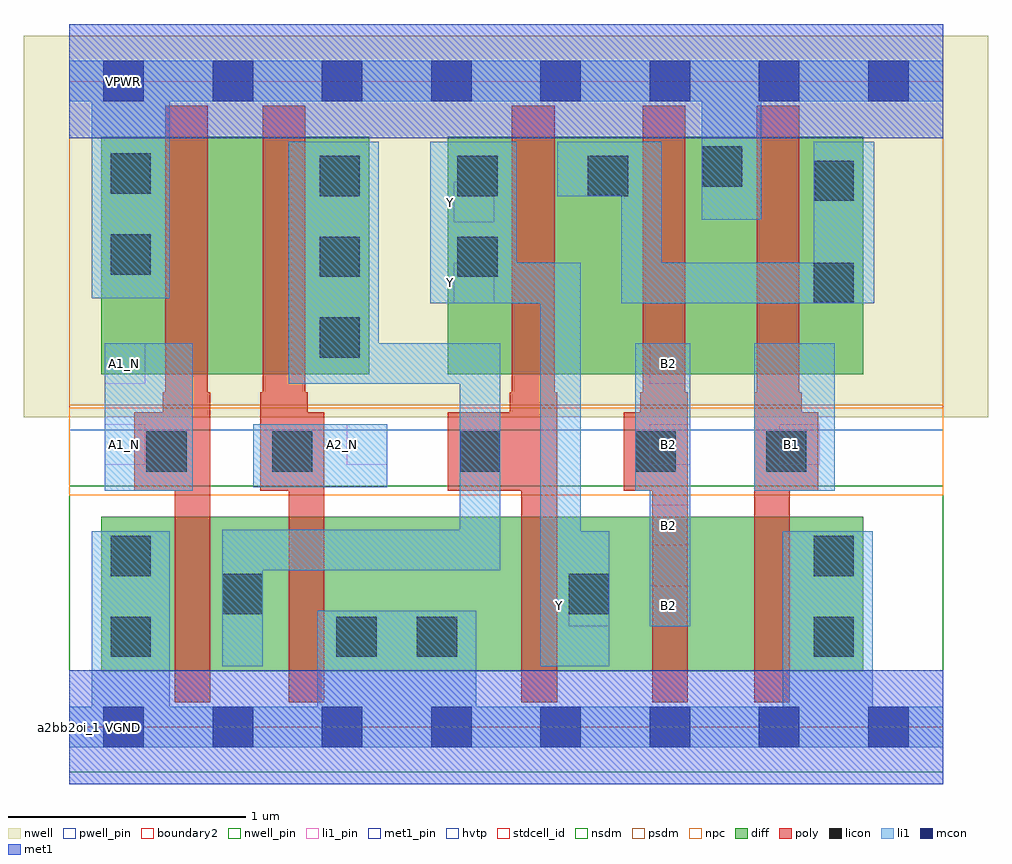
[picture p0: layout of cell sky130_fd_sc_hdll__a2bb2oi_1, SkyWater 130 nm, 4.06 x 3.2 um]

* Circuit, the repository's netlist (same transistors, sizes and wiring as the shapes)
* Copyright 2020 The SkyWater PDK Authors
*
* Licensed under the Apache License, Version 2.0 (the "License");
* you may not use this file except in compliance with the License.
* You may obtain a copy of the License at
*
*     https://www.apache.org/licenses/LICENSE-2.0
*
* Unless required by applicable law or agreed to in writing, software
* distributed under the License is distributed on an "AS IS" BASIS,
* WITHOUT WARRANTIES OR CONDITIONS OF ANY KIND, either express or implied.
* See the License for the specific language governing permissions and
* limitations under the License.
*
* SPDX-License-Identifier: Apache-2.0

.SUBCKT sky130_fd_sc_hdll__a2bb2oi_1 A1_N A2_N B1 B2 VGND VNB VPB VPWR Y
*.PININFO A1_N:I A2_N:I B1:I B2:I VGND:I VNB:I VPB:I VPWR:I Y:O
MMNnor0 inor A1_N VGND VNB sky130_fd_pr__nfet_01v8 m=1 w=0.65U l=0.15U mult=1 sa=0.265
+ sb=0.265 sd=0.28 area=0.063 perim=1.14
MMNnor1 inor A2_N VGND VNB sky130_fd_pr__nfet_01v8 m=1 w=0.65U l=0.15U mult=1 sa=0.265
+ sb=0.265 sd=0.28 area=0.063 perim=1.14
MMNaoi10 VGND B1 sndNB1 VNB sky130_fd_pr__nfet_01v8 m=1 w=0.65U l=0.15U mult=1
+ sa=0.265 sb=0.265 sd=0.28 area=0.063 perim=1.14
MMNaoi11 sndNB1 B2 Y VNB sky130_fd_pr__nfet_01v8 m=1 w=0.65U l=0.15U mult=1 sa=0.265
+ sb=0.265 sd=0.28 area=0.063 perim=1.14
MMNaoi20 Y inor VGND VNB sky130_fd_pr__nfet_01v8 m=1 w=0.65U l=0.15U mult=1 sa=0.265
+ sb=0.265 sd=0.28 area=0.063 perim=1.14
MMPnor0 VPWR A1_N sndPA1N VPB sky130_fd_pr__pfet_01v8_hvt m=1 w=1.0U l=0.18U mult=1
+ sa=0.265 sb=0.265 sd=0.28 area=0.063 perim=1.14
MMPnor1 sndPA1N A2_N inor VPB sky130_fd_pr__pfet_01v8_hvt m=1 w=1.0U l=0.18U mult=1
+ sa=0.265 sb=0.265 sd=0.28 area=0.063 perim=1.14
MMPaoi10 pmid B1 VPWR VPB sky130_fd_pr__pfet_01v8_hvt m=1 w=1.0U l=0.18U mult=1
+ sa=0.265 sb=0.265 sd=0.28 area=0.063 perim=1.14
MMPaoi11 pmid B2 VPWR VPB sky130_fd_pr__pfet_01v8_hvt m=1 w=1.0U l=0.18U mult=1
+ sa=0.265 sb=0.265 sd=0.28 area=0.063 perim=1.14
MMPaoi20 Y inor pmid VPB sky130_fd_pr__pfet_01v8_hvt m=1 w=1.0U l=0.18U mult=1
+ sa=0.265 sb=0.265 sd=0.28 area=0.063 perim=1.14
.ENDS sky130_fd_sc_hdll__a2bb2oi_1

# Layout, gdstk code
import gdstk
lib = gdstk.Library(unit=1e-6, precision=1e-09)
def R(c, l, rs):  # rectangles x0, y0, x1, y1
    for r in rs: c.add(gdstk.rectangle(r[:2], r[2:], *l))
def A(c, l, x, y, w, h, nx, ny, dx, dy):  # array of equal rectangles
    R(c, l, [(x+i*dx, y+j*dy, x+i*dx+w, y+j*dy+h) for i in range(nx) for j in range(ny)])
def P(c, l, *ps):  # polygons
    for p in ps: c.add(gdstk.Polygon(p, *l))
nwell_pin = (64, 16)
nwell = (64, 20)
diff = (65, 20)
poly = (66, 20)
licon = (66, 44)
li1_pin = (67, 16)
li1 = (67, 20)
mcon = (67, 44)
met1_pin = (68, 16)
met1 = (68, 20)
hvtp = (78, 44)
stdcell_id = (81, 4)
nsdm = (93, 44)
psdm = (94, 20)
npc = (95, 20)
pwell_pin = (122, 16)
boundary2 = (236, 0)

sky130_fd_sc_hdll__a2bb2 = lib.new_cell('sky130_fd_sc_hdll__a2bb2oi_1')
R(sky130_fd_sc_hdll__a2bb2, nwell_pin, [(0.145,2.635,0.315,2.805)])
R(sky130_fd_sc_hdll__a2bb2, nwell, [(-0.19,1.305,3.87,2.91)])
R(sky130_fd_sc_hdll__a2bb2, diff, [(0.135,0.235,3.345,0.885), (0.135,1.485,1.265,2.485), (1.595,1.485,3.345,2.485)])
P(sky130_fd_sc_hdll__a2bb2, poly, [(0.595,1.41),(0.585,1.41),(0.585,2.615),(0.405,2.615),(0.405,1.41),(0.395,1.41),(0.395,1.325),(0.275,1.325),(0.275,0.995),(0.445,0.995),(0.445,0.105),(0.595,0.105)],
  [(1.075,1.325),(1.005,1.325),(1.005,1.41),(0.995,1.41),(0.995,2.615),(0.815,2.615),(0.815,1.41),(0.805,1.41),(0.805,0.995),(0.925,0.995),(0.925,0.105),(1.075,0.105)],
  [(2.055,1.41),(2.045,1.41),(2.045,2.615),(1.865,2.615),(1.865,1.41),(1.855,1.41),(1.855,1.325),(1.595,1.325),(1.595,0.995),(1.905,0.995),(1.905,0.105),(2.055,0.105)],
  [(2.605,1.41),(2.595,1.41),(2.595,2.615),(2.415,2.615),(2.415,1.41),(2.405,1.41),(2.405,1.325),(2.335,1.325),(2.335,0.995),(2.455,0.995),(2.455,0.105),(2.605,0.105)],
  [(3.155,1.325),(3.085,1.325),(3.085,1.41),(3.075,1.41),(3.075,2.615),(2.895,2.615),(2.895,1.41),(2.885,1.41),(2.885,0.105),(3.035,0.105),(3.035,0.995),(3.155,0.995)])
A(sky130_fd_sc_hdll__a2bb2, licon, 1.055, 1.555, 0.17, 0.17, 1, 3, 0, 0.34)
R(sky130_fd_sc_hdll__a2bb2, licon, [(0.175,0.295,0.345,0.465), (1.125,0.295,1.295,0.465), (1.465,0.295,1.635,0.465), (3.135,0.295,3.305,0.465), (0.645,0.475,0.815,0.645), (2.105,0.475,2.275,0.645), (0.175,0.635,0.345,0.805), (3.135,0.635,3.305,0.805), (0.325,1.075,0.495,1.245), (0.855,1.075,1.025,1.245), (1.645,1.075,1.815,1.245), (2.385,1.075,2.555,1.245), (2.935,1.075,3.105,1.245), (3.135,1.785,3.305,1.955), (1.635,1.895,1.805,2.065), (0.175,1.905,0.345,2.075), (3.135,2.215,3.305,2.385), (1.635,2.235,1.805,2.405), (2.185,2.235,2.355,2.405), (0.175,2.245,0.345,2.415), (2.665,2.275,2.835,2.445)])
A(sky130_fd_sc_hdll__a2bb2, li1_pin, 2.445, 0.425, 0.17, 0.17, 1, 4, 0, 0.34)
R(sky130_fd_sc_hdll__a2bb2, li1_pin, [(0.145,-0.085,0.315,0.085), (2.105,0.425,2.275,0.595), (0.15,1.105,0.32,1.275), (1.17,1.105,1.34,1.275), (2.99,1.105,3.16,1.275), (0.15,1.445,0.32,1.615), (1.62,1.785,1.79,1.955), (1.62,2.125,1.79,2.295), (0.145,2.635,0.315,2.805)])
R(sky130_fd_sc_hdll__a2bb2, li1, [(0.15,0.995,0.52,1.615), (2.885,0.995,3.225,1.615), (0.775,1.01,1.34,1.275)])
P(sky130_fd_sc_hdll__a2bb2, li1, [(3.68,0.085),(3.385,0.085),(3.385,0.825),(3.005,0.825),(3.005,0.085),(1.715,0.085),(1.715,0.49),(1.045,0.49),(1.045,0.085),(0.425,0.085),(0.425,0.825),(0.095,0.825),(0.095,0.085),(0,0.085),(0,-0.085),(3.68,-0.085)],
  [(3.68,2.805),(0,2.805),(0,2.635),(0.095,2.635),(0.095,1.805),(0.425,1.805),(0.425,2.635),(2.665,2.635),(2.665,2.135),(2.915,2.135),(2.915,2.635),(3.68,2.635)],
  [(1.815,1.615),(1.305,1.615),(1.305,2.465),(0.925,2.465),(0.925,1.445),(1.645,1.445),(1.645,0.83),(0.645,0.83),(0.645,0.255),(0.815,0.255),(0.815,0.66),(1.815,0.66)],
  [(2.615,1.615),(2.385,1.615),(2.385,0.995),(2.445,0.995),(2.445,0.425),(2.615,0.425)],
  [(2.275,0.825),(2.155,0.825),(2.155,1.955),(1.885,1.955),(1.885,2.465),(1.52,2.465),(1.52,1.785),(1.985,1.785),(1.985,0.255),(2.275,0.255)],
  [(3.39,2.465),(3.135,2.465),(3.135,1.955),(2.495,1.955),(2.495,2.465),(2.055,2.465),(2.055,2.235),(2.325,2.235),(2.325,1.785),(3.39,1.785)])
A(sky130_fd_sc_hdll__a2bb2, mcon, 0.145, -0.085, 0.17, 0.17, 8, 2, 0.46, 2.72)
R(sky130_fd_sc_hdll__a2bb2, met1_pin, [(0.145,-0.085,0.315,0.085), (0.145,2.635,0.315,2.805)])
R(sky130_fd_sc_hdll__a2bb2, met1, [(0,-0.24,3.68,0.24), (0,2.48,3.68,2.96)])
R(sky130_fd_sc_hdll__a2bb2, hvtp, [(0,1.25,3.68,2.72)])
R(sky130_fd_sc_hdll__a2bb2, stdcell_id, [(0,0,3.68,2.72)])
R(sky130_fd_sc_hdll__a2bb2, nsdm, [(0,-0.19,3.68,1.015)])
R(sky130_fd_sc_hdll__a2bb2, psdm, [(0,1.355,3.68,2.91)])
R(sky130_fd_sc_hdll__a2bb2, npc, [(0,0.975,3.68,1.345)])
R(sky130_fd_sc_hdll__a2bb2, pwell_pin, [(0.145,-0.085,0.315,0.085)])
R(sky130_fd_sc_hdll__a2bb2, boundary2, [(0,0,3.68,2.72)])
sky130_fd_sc_hdll__a2bb2.add(gdstk.Label('A1_N', (0.235,1.53), layer=67, texttype=5))
sky130_fd_sc_hdll__a2bb2.add(gdstk.Label('A1_N', (0.235,1.19), layer=67, texttype=5))
sky130_fd_sc_hdll__a2bb2.add(gdstk.Label('Y', (1.605,2.21), layer=67, texttype=5))
sky130_fd_sc_hdll__a2bb2.add(gdstk.Label('Y', (1.605,1.87), layer=67, texttype=5))
sky130_fd_sc_hdll__a2bb2.add(gdstk.Label('Y', (2.065,0.51), layer=67, texttype=5))
sky130_fd_sc_hdll__a2bb2.add(gdstk.Label('VGND', (0.23,0), layer=67, texttype=5))
sky130_fd_sc_hdll__a2bb2.add(gdstk.Label('VPWR', (0.23,2.72), layer=67, texttype=5))
sky130_fd_sc_hdll__a2bb2.add(gdstk.Label('B2', (2.525,0.51), layer=67, texttype=5))
sky130_fd_sc_hdll__a2bb2.add(gdstk.Label('B2', (2.525,0.85), layer=67, texttype=5))
sky130_fd_sc_hdll__a2bb2.add(gdstk.Label('B2', (2.525,1.19), layer=67, texttype=5))
sky130_fd_sc_hdll__a2bb2.add(gdstk.Label('B2', (2.525,1.53), layer=67, texttype=5))
sky130_fd_sc_hdll__a2bb2.add(gdstk.Label('B1', (3.04,1.19), layer=67, texttype=5))
sky130_fd_sc_hdll__a2bb2.add(gdstk.Label('A2_N', (1.15,1.19), layer=67, texttype=5))
sky130_fd_sc_hdll__a2bb2.add(gdstk.Label('VPB', (0.23,2.72), layer=64, texttype=5))
sky130_fd_sc_hdll__a2bb2.add(gdstk.Label('VNB', (0.23,0), layer=64, texttype=59))
sky130_fd_sc_hdll__a2bb2.add(gdstk.Label('VGND', (0.23,0), layer=68, texttype=5))
sky130_fd_sc_hdll__a2bb2.add(gdstk.Label('VPWR', (0.23,2.72), layer=68, texttype=5))
sky130_fd_sc_hdll__a2bb2.add(gdstk.Label('a2bb2oi_1', (0,0), layer=83, texttype=44))

lib.write_gds('sky130_fd_sc_hdll__a2bb2oi_1.gds')
